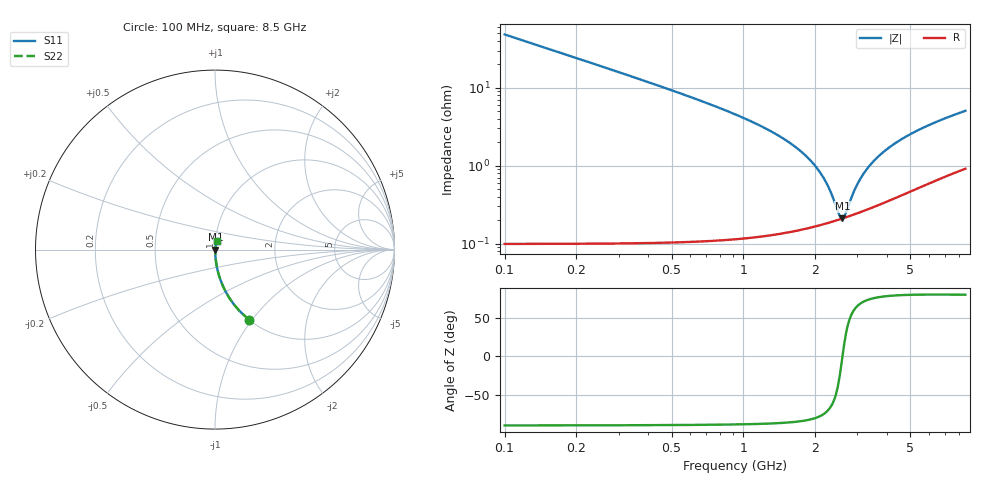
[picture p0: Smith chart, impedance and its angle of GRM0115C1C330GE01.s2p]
!Murata Part Number: GRM0115C1C330GE01
!These Parameters are Measured in Series Mode Connection
!Data Generated on Mar 30, 2021
!  o--ll--o
!Port1  Port2
!  o------o
!Operation Temp=25[degC], DC Bias Voltage=0[V]
!Freq. Start=100[MHz] Stop=9[GHz] 401[Steps]
# Hz S RI R 50
!Freq.(Hz) S11(Real) S11(Imag) S21(Real) S21(Imag) S12(Real) S12(Imag) S22(Real) S22(Imag)
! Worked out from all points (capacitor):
!   401 points, 100 MHz to 8.5 GHz, reference 50 ohm
!   read as one part in series: C = 33 pF near 142 MHz
!   lowest |Z| = 211 mohm at 2.599 GHz (marker M1)
!   series resonance near 2.599 GHz, so ESL is about 110 pH
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1e8  0.1888 -0.3903  0.8112 0.3903  0.8112 0.3903  0.1888 -0.3903
1.84e8  0.0645 -0.2437  0.9355 0.2437  0.9355 0.2437  0.0645 -0.2437
2.89e8  0.0274 -0.1601  0.9726 0.1601  0.9726 0.1601  0.0274 -0.1601
3.94e8  0.0151 -0.1176  0.9849 0.1176  0.9849 0.1176  0.0151 -0.1176
5.2e8  0.00887 -0.0881  0.9911 0.0881  0.9911 0.0881  0.00887 -0.0881
8.56e8  0.00362 -0.0499  0.9964 0.0499  0.9964 0.0499  0.00362 -0.0499
1.507e9  0.00182 -0.0211  0.9982 0.0211  0.9982 0.0211  0.00182 -0.0211
1.822e9  0.00173 -0.0133  0.9983 0.0133  0.9983 0.0133  0.00173 -0.0133
2.074e9  0.00178 -0.00835  0.9982 0.00835  0.9982 0.00835  0.00178 -0.00835
2.284e9  0.00188 -0.00474  0.9981 0.00474  0.9981 0.00474  0.00188 -0.00474
2.515e9  0.00204 -0.0012  0.998 0.0012  0.998 0.0012  0.00204 -0.0012
2.599e9  0.0021 -3.1e-06  0.9979 3.1e-06  0.9979 3.1e-06  0.0021 -3.1e-06
2.662e9  0.00215 0.00087  0.9978 -0.00087  0.9978 -0.00087  0.00215 0.00087
2.914e9  0.00239 0.00416  0.9976 -0.00416  0.9976 -0.00416  0.00239 0.00416
3.145e9  0.00263 0.00695  0.9974 -0.00695  0.9974 -0.00695  0.00263 0.00695
3.439e9  0.00297 0.0102  0.997 -0.0102  0.997 -0.0102  0.00297 0.0102
3.817e9  0.00346 0.0141  0.9965 -0.0141  0.9965 -0.0141  0.00346 0.0141
4.3e9  0.00415 0.0187  0.9959 -0.0187  0.9959 -0.0187  0.00415 0.0187
4.93e9  0.00513 0.0241  0.9949 -0.0241  0.9949 -0.0241  0.00513 0.0241
5.707e9  0.00644 0.0302  0.9936 -0.0302  0.9936 -0.0302  0.00644 0.0302
7.114e9  0.00894 0.0401  0.9911 -0.0401  0.9911 -0.0401  0.00894 0.0401
8.5e9  0.0115 0.0487  0.9885 -0.0487  0.9885 -0.0487  0.0115 0.0487
